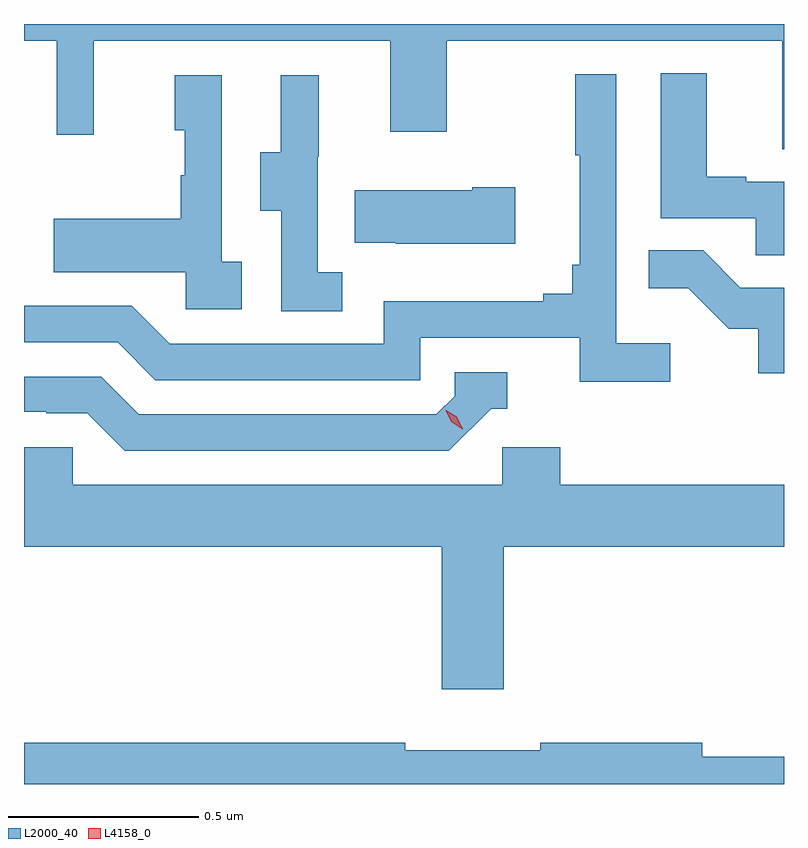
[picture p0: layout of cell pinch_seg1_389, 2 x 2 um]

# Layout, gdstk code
import gdstk
lib = gdstk.Library(unit=1e-6, precision=1e-09)
def P(c, l, *ps):  # polygons
    for p in ps: c.add(gdstk.Polygon(p, *l))
L2000_40 = (2000, 40)
L4158_0 = (4158, 0)

pinch_seg1_389 = lib.new_cell('pinch_seg1_389')
P(pinch_seg1_389, L2000_40, [(969.105,529.132),(967.105,529.132),(967.105,529.088),(967.191,529.088),(967.191,528.84),(967.289,528.84),(967.289,529.088),(968.069,529.088),(968.069,528.849),(968.217,528.849),(968.217,529.088),(969.101,529.088),(969.101,528.802),(969.105,528.802)],
  [(969.105,528.717),(969.005,528.717),(969.005,528.73),(968.902,528.73),(968.902,529.003),(968.78,529.003),(968.78,528.621),(969.031,528.621),(969.031,528.523),(969.105,528.523)],
  [(968.806,528.292),(968.664,528.292),(968.664,529),(968.556,529),(968.556,528.787),(968.567,528.787),(968.567,528.499),(968.548,528.499),(968.548,528.422),(968.471,528.422),(968.471,528.403),(968.052,528.403),(968.052,528.291),(967.488,528.291),(967.389,528.39),(967.105,528.39),(967.105,528.294),(967.352,528.294),(967.451,528.195),(968.148,528.195),(968.148,528.306),(968.567,528.306),(968.567,528.19),(968.806,528.19)],
  [(967.942,528.479),(967.878,528.479),(967.878,528.783),(967.88,528.783),(967.88,528.997),(967.781,528.997),(967.781,528.795),(967.727,528.795),(967.727,528.64),(967.782,528.64),(967.782,528.376),(967.942,528.376)],
  [(967.678,528.506),(967.626,528.506),(967.626,528.997),(967.502,528.997),(967.502,528.852),(967.528,528.852),(967.528,528.734),(967.518,528.734),(967.518,528.619),(967.183,528.619),(967.183,528.479),(967.53,528.479),(967.53,528.381),(967.678,528.381)],
  [(968.398,528.702),(968.285,528.702),(968.285,528.694),(967.975,528.694),(967.975,528.557),(968.083,528.557),(968.083,528.554),(968.398,528.554)],
  [(969.105,528.438),(968.99,528.438),(968.892,528.536),(968.749,528.536),(968.749,528.437),(968.853,528.437),(968.96,528.33),(969.037,528.33),(969.037,528.213),(969.105,528.213)],
  [(968.334,528.12),(968.377,528.12),(968.377,528.216),(968.238,528.216),(968.238,528.153),(968.19,528.105),(967.407,528.105),(967.308,528.204),(967.105,528.204),(967.105,528.111),(967.164,528.111),(967.164,528.108),(967.271,528.108),(967.37,528.009),(968.223,528.009)],
  [(968.368,527.756),(969.105,527.756),(969.105,527.92),(968.516,527.92),(968.516,528.018),(968.364,528.018),(968.364,527.92),(967.233,527.92),(967.233,528.018),(967.105,528.018),(967.105,527.756),(968.204,527.756),(968.204,527.382),(968.368,527.382)],
  [(969.105,527.204),(968.89,527.204),(968.89,527.24),(968.464,527.24),(968.464,527.221),(968.108,527.221),(968.108,527.24),(967.105,527.24),(967.105,527.132),(969.105,527.132)])
P(pinch_seg1_389, L4158_0, [(968.26,528.066),(968.229,528.085),(968.213,528.117),(968.213,528.117),(968.213,528.117),(968.244,528.098),(968.26,528.066),(968.26,528.066)])

lib.write_gds('pinch_seg1_389.gds')
